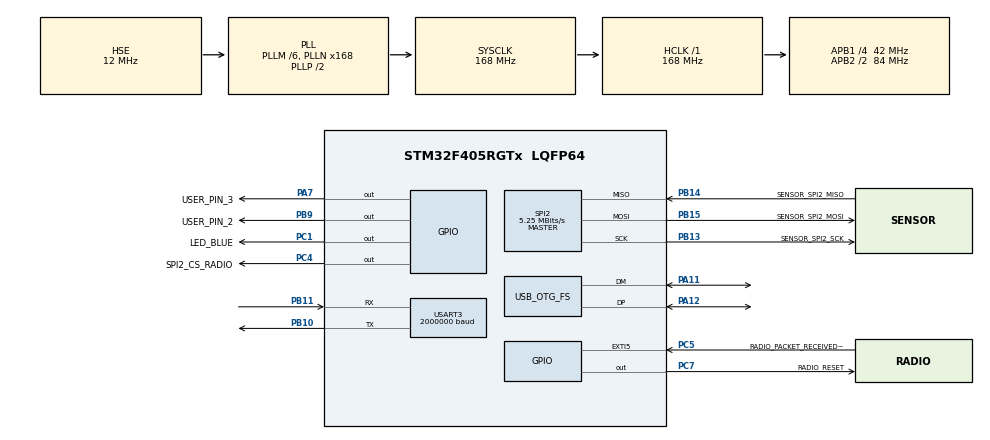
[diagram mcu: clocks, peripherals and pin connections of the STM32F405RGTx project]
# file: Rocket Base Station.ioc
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FREERTOS.INCLUDE_uxTaskGetStackHighWaterMark2=1
FREERTOS.Queues01=RadioCommsQueue,16,uint64_t,0,Static,RadioCommsQueueBuffer,RadioCommsQueueControlBlock
FREERTOS.Tasks01=defaultTask,24,4096,StartDefaultTask,Default,NULL,Static,defaultTaskBuffer,defaultTaskControlBlock;RadioComms,24,4096,RadioCommsTask,Default,NULL,Static,RadioCommsBuffer,RadioCommsControlBlock
FREERTOS.configCHECK_FOR_STACK_OVERFLOW=0
FREERTOS.configENABLE_FPU=0
FREERTOS.configGENERATE_RUN_TIME_STATS=1
FREERTOS.configTICK_RATE_HZ=1000
FREERTOS.configTOTAL_HEAP_SIZE=10000
FREERTOS.configUSE_NEWLIB_REENTRANT=1
FREERTOS.configUSE_OS2_MUTEX=1
FREERTOS.configUSE_STATS_FORMATTING_FUNCTIONS=1
FREERTOS.configUSE_TICKLESS_IDLE=0
Mcu.Family=STM32F4
Mcu.Name=STM32F405RGTx
Mcu.Package=LQFP64
NVIC.EXTI9_5_IRQn=true\:6\:0\:true\:false\:true\:true\:true\:true\:true
NVIC.OTG_FS_IRQn=true\:5\:0\:false\:false\:true\:true\:false\:true\:true
NVIC.PriorityGroup=NVIC_PRIORITYGROUP_4
NVIC.TIM1_UP_TIM10_IRQn=true\:15\:0\:false\:false\:true\:false\:false\:true\:true
NVIC.TIM8_TRG_COM_TIM14_IRQn=true\:5\:0\:false\:false\:true\:true\:true\:true\:true
NVIC.TimeBase=TIM1_UP_TIM10_IRQn
NVIC.TimeBaseIP=TIM1
NVIC.USART3_IRQn=true\:5\:0\:false\:false\:true\:true\:true\:true\:true
PA11.Mode=Device_Only
PA11.Signal=USB_OTG_FS_DM
PA12.Mode=Device_Only
PA12.Signal=USB_OTG_FS_DP
PA13.Mode=Serial_Wire
PA13.Signal=SYS_JTMS-SWDIO
PA14.Mode=Serial_Wire
PA14.Signal=SYS_JTCK-SWCLK
PA7.GPIO_Label=USER_PIN_3
PA7.GPIO_Speed=GPIO_SPEED_FREQ_HIGH
PA7.PinState=GPIO_PIN_SET
PA7.Signal=GPIO_Output
PB10.GPIO_PuPd=GPIO_NOPULL
PB10.GPIO_Speed=GPIO_SPEED_FREQ_MEDIUM
PB10.Mode=Asynchronous
PB10.Signal=USART3_TX
PB11.GPIO_PuPd=GPIO_NOPULL
PB11.GPIO_Speed=GPIO_SPEED_FREQ_MEDIUM
PB11.Mode=Asynchronous
PB11.Signal=USART3_RX
PB13.GPIO_Label=SENSOR_SPI2_SCK
PB13.GPIO_PuPd=GPIO_NOPULL
PB13.Mode=Full_Duplex_Master
PB13.Signal=SPI2_SCK
PB14.GPIO_Label=SENSOR_SPI2_MISO
PB14.GPIO_PuPd=GPIO_NOPULL
PB14.Mode=Full_Duplex_Master
PB14.Signal=SPI2_MISO
PB15.GPIO_Label=SENSOR_SPI2_MOSI
PB15.GPIO_PuPd=GPIO_NOPULL
PB15.Mode=Full_Duplex_Master
PB15.Signal=SPI2_MOSI
PB9.GPIO_Label=USER_PIN_2
PB9.GPIO_PuPd=GPIO_PULLUP
PB9.GPIO_Speed=GPIO_SPEED_FREQ_LOW
PB9.PinState=GPIO_PIN_SET
PB9.Signal=GPIO_Output
PC1.GPIO_Label=LED_BLUE
PC1.GPIO_ModeDefaultOutputPP=GPIO_MODE_OUTPUT_PP
PC1.GPIO_PuPd=GPIO_NOPULL
PC1.GPIO_Speed=GPIO_SPEED_FREQ_VERY_HIGH
PC1.PinState=GPIO_PIN_SET
PC1.Signal=GPIO_Output
PC14-OSC32_IN.Mode=LSE-External-Oscillator
PC14-OSC32_IN.Signal=RCC_OSC32_IN
PC15-OSC32_OUT.Mode=LSE-External-Oscillator
PC15-OSC32_OUT.Signal=RCC_OSC32_OUT
PC4.GPIO_Label=SPI2_CS_RADIO
PC4.GPIO_Speed=GPIO_SPEED_FREQ_VERY_HIGH
PC4.PinState=GPIO_PIN_SET
PC4.Signal=GPIO_Output
PC5.GPIO_Label=RADIO_PACKET_RECEIVED_INTERRUPT
PC5.GPIO_ModeDefaultEXTI=GPIO_MODE_IT_RISING_FALLING
PC5.GPIO_PuPd=GPIO_NOPULL
PC5.Signal=GPXTI5
PC7.GPIO_Label=RADIO_RESET
PC7.GPIO_Speed=GPIO_SPEED_FREQ_HIGH
PC7.PinState=GPIO_PIN_RESET
PC7.Signal=GPIO_Output
PH0-OSC_IN.Mode=HSE-External-Oscillator
PH0-OSC_IN.Signal=RCC_OSC_IN
PH1-OSC_OUT.Mode=HSE-External-Oscillator
PH1-OSC_OUT.Signal=RCC_OSC_OUT
ProjectManager.HeapSize=0x400
ProjectManager.StackSize=0x800
ProjectManager.TargetToolchain=STM32CubeIDE
RCC.48MHZClocksFreq_Value=48000000
RCC.AHBFreq_Value=168000000
RCC.APB1CLKDivider=RCC_HCLK_DIV4
RCC.APB1Freq_Value=42000000
RCC.APB1TimFreq_Value=84000000
RCC.APB2CLKDivider=RCC_HCLK_DIV2
RCC.APB2Freq_Value=84000000
RCC.APB2TimFreq_Value=168000000
RCC.CortexFreq_Value=168000000
RCC.HCLKFreq_Value=168000000
RCC.HSE_VALUE=12000000
RCC.HSI_VALUE=16000000
RCC.PLLM=6
RCC.PLLN=168
RCC.PLLQ=7
RCC.RCC_RTC_Clock_Source=RCC_RTCCLKSOURCE_LSE
RCC.RCC_RTC_Clock_SourceVirtual=RCC_RTCCLKSOURCE_LSE
RCC.SYSCLKFreq_VALUE=168000000
RCC.SYSCLKSource=RCC_SYSCLKSOURCE_PLLCLK
RCC.VCOOutputFreq_Value=336000000
SPI2.BaudRatePrescaler=SPI_BAUDRATEPRESCALER_8
SPI2.CalculateBaudRate=5.25 MBits/s
SPI2.Direction=SPI_DIRECTION_2LINES
SPI2.Mode=SPI_MODE_MASTER
SPI2.VirtualType=VM_MASTER
TIM14.ClockDivision=TIM_CLOCKDIVISION_DIV4
TIM14.Period=25000
TIM14.Prescaler=16800
TIM2.ClockDivision=TIM_CLOCKDIVISION_DIV4
TIM2.Prescaler=16000
TIM2.TIM_MasterOutputTrigger=TIM_TRGO_RESET
TIM5.Prescaler=1680
USART3.BaudRate=2000000
USART3.Mode=MODE_TX_RX
USART3.VirtualMode=VM_ASYNC
USB_DEVICE.CLASS_NAME_FS=CDC
USB_DEVICE.PRODUCT_STRING_CDC_FS=Rocket Base Station ComPort
USB_DEVICE.USBD_DEBUG_LEVEL-CDC_FS=3
USB_DEVICE.USBD_SELF_POWERED-CDC_FS=1
USB_DEVICE.VirtualMode-CDC_FS=Cdc
USB_DEVICE.VirtualModeFS=Cdc_FS
USB_OTG_FS.VirtualMode=Device_Only
VP_FREERTOS_VS_CMSIS_V2.Mode=CMSIS_V2
VP_RTC_VS_RTC_Activate.Mode=RTC_Enabled
VP_SYS_VS_tim1.Mode=TIM1
VP_TIM14_VS_ClockSourceINT.Mode=Enable_Timer
VP_TIM2_VS_ClockSourceINT.Mode=Internal
VP_TIM5_VS_ClockSourceINT.Mode=Internal
VP_USB_DEVICE_VS_USB_DEVICE_CDC_FS.Mode=CDC_FS
board=custom

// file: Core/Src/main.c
/* USER CODE BEGIN Header */
/**
  ******************************************************************************
  * @file           : main.c
  * @brief          : Main program body
  ******************************************************************************
  * @attention
  *
  * <h2><center>&copy; Copyright (c) 2021 STMicroelectronics.
  * All rights reserved.</center></h2>
  *
  * This software component is licensed by ST under Ultimate Liberty license
  * SLA0044, the "License"; You may not use this file except in compliance with
  * the License. You may obtain a copy of the License at:
  *                             www.st.com/SLA0044
  *
  ******************************************************************************
  */
/* USER CODE END Header */
#include "main.h"
#include "cmsis_os.h"
#include "usb_device.h"

/* USER CODE BEGIN Includes */
#include <stdio.h>
#include <stdio.h>
#include "usb_device.h"
#include "Global.h"
/* USER CODE END Includes */

typedef StaticTask_t osStaticThreadDef_t;
typedef StaticQueue_t osStaticMessageQDef_t;

RTC_HandleTypeDef hrtc;

SPI_HandleTypeDef hspi2;

TIM_HandleTypeDef htim2;
TIM_HandleTypeDef htim5;
TIM_HandleTypeDef htim14;

UART_HandleTypeDef huart3;

/* Definitions for defaultTask */
osThreadId_t defaultTaskHandle;
uint32_t defaultTaskBuffer[ 4096 ];
osStaticThreadDef_t defaultTaskControlBlock;
const osThreadAttr_t defaultTask_attributes = {
  .name = "defaultTask",
  .cb_mem = &defaultTaskControlBlock,
  .cb_size = sizeof(defaultTaskControlBlock),
  .stack_mem = &defaultTaskBuffer[0],
  .stack_size = sizeof(defaultTaskBuffer),
  .priority = (osPriority_t) osPriorityNormal,
};
/* Definitions for RadioComms */
osThreadId_t RadioCommsHandle;
uint32_t RadioCommsBuffer[ 4096 ];
osStaticThreadDef_t RadioCommsControlBlock;
const osThreadAttr_t RadioComms_attributes = {
  .name = "RadioComms",
  .cb_mem = &RadioCommsControlBlock,
  .cb_size = sizeof(RadioCommsControlBlock),
  .stack_mem = &RadioCommsBuffer[0],
  .stack_size = sizeof(RadioCommsBuffer),
  .priority = (osPriority_t) osPriorityNormal,
};
/* Definitions for RadioCommsQueue */
osMessageQueueId_t RadioCommsQueueHandle;
uint8_t RadioCommsQueueBuffer[ 16 * sizeof( uint64_t ) ];
osStaticMessageQDef_t RadioCommsQueueControlBlock;
const osMessageQueueAttr_t RadioCommsQueue_attributes = {
  .name = "RadioCommsQueue",
  .cb_mem = &RadioCommsQueueControlBlock,
  .cb_size = sizeof(RadioCommsQueueControlBlock),
  .mq_mem = &RadioCommsQueueBuffer,
  .mq_size = sizeof(RadioCommsQueueBuffer)
};

void SystemClock_Config(void);
static void MX_GPIO_Init(void);
static void MX_SPI2_Init(void);
static void MX_USART3_UART_Init(void);
static void MX_RTC_Init(void);
static void MX_TIM2_Init(void);
static void MX_TIM5_Init(void);
static void MX_TIM14_Init(void);
void StartDefaultTask(void *argument);
void RadioCommsTask(void *argument);

/* USER CODE BEGIN PFP */
void StartRadioCommsTask(osMessageQueueId_t);
void RunDefaultTask();
void RadioCommsPrintStats();
/* USER CODE END PFP */

/* USER CODE BEGIN 0 */

void StartSampleTimer()
{
	htim5.Instance->CNT = 0;
	HAL_TIM_Base_Start(&htim5);
}

void StopSampleTimer()
{
	HAL_TIM_Base_Stop(&htim5);
}

uint32_t SampleTick()
{
	return htim5.Instance->CNT;
}

void StartPrintStatsTimer()
{
	HAL_TIM_Base_Start_IT(&htim14);
}

void StopPrintStatsTimer()
{
	HAL_TIM_Base_Stop_IT(&htim14);
}
/* USER CODE END 0 */

int main(void)
{

  /* MCU Configuration--------------------------------------------------------*/

  /* Reset of all peripherals, Initializes the Flash interface and the Systick. */
  HAL_Init();

  /* Configure the system clock */
  SystemClock_Config();

  /* Initialize all configured peripherals */
  MX_GPIO_Init();
  MX_SPI2_Init();
  MX_USART3_UART_Init();
  MX_RTC_Init();
  MX_TIM2_Init();
  MX_TIM5_Init();
  MX_TIM14_Init();
  /* USER CODE BEGIN 2 */
  HAL_NVIC_DisableIRQ(EXTI9_5_IRQn);
  /* USER CODE END 2 */

  /* Init scheduler */
  osKernelInitialize();

  /* USER CODE BEGIN RTOS_TIMERS */
  /* start timers, add new ones, ... */
#ifdef DEBUG
  initialize_debug_printf();
#endif
  PRINTLN("Rocket System Start!!!");
  /* USER CODE END RTOS_TIMERS */

  /* Create the queue(s) */
  /* creation of RadioCommsQueue */
  RadioCommsQueueHandle = osMessageQueueNew (16, sizeof(uint64_t), &RadioCommsQueue_attributes);

  /* Create the thread(s) */
  /* creation of defaultTask */
  defaultTaskHandle = osThreadNew(StartDefaultTask, NULL, &defaultTask_attributes);

  /* creation of RadioComms */
  RadioCommsHandle = osThreadNew(RadioCommsTask, NULL, &RadioComms_attributes);

  /* Start scheduler */
  osKernelStart();

  /* We should never get here as control is now taken by the scheduler */
  /* Infinite loop */
  while (1)
  {

  }
}

void SystemClock_Config(void)
{
  RCC_OscInitTypeDef RCC_OscInitStruct = {0};
  RCC_ClkInitTypeDef RCC_ClkInitStruct = {0};

  /** Configure the main internal regulator output voltage
  */
  __HAL_RCC_PWR_CLK_ENABLE();
  __HAL_PWR_VOLTAGESCALING_CONFIG(PWR_REGULATOR_VOLTAGE_SCALE1);
  /** Initializes the RCC Oscillators according to the specified parameters
  * in the RCC_OscInitTypeDef structure.
  */
  RCC_OscInitStruct.OscillatorType = RCC_OSCILLATORTYPE_HSE|RCC_OSCILLATORTYPE_LSE;
  RCC_OscInitStruct.HSEState = RCC_HSE_ON;
  RCC_OscInitStruct.LSEState = RCC_LSE_ON;
  RCC_OscInitStruct.PLL.PLLState = RCC_PLL_ON;
  RCC_OscInitStruct.PLL.PLLSource = RCC_PLLSOURCE_HSE;
  RCC_OscInitStruct.PLL.PLLM = 6;
  RCC_OscInitStruct.PLL.PLLN = 168;
  RCC_OscInitStruct.PLL.PLLP = RCC_PLLP_DIV2;
  RCC_OscInitStruct.PLL.PLLQ = 7;
  if (HAL_RCC_OscConfig(&RCC_OscInitStruct) != HAL_OK)
  {
    Error_Handler();
  }
  /** Initializes the CPU, AHB and APB buses clocks
  */
  RCC_ClkInitStruct.ClockType = RCC_CLOCKTYPE_HCLK|RCC_CLOCKTYPE_SYSCLK
                              |RCC_CLOCKTYPE_PCLK1|RCC_CLOCKTYPE_PCLK2;
  RCC_ClkInitStruct.SYSCLKSource = RCC_SYSCLKSOURCE_PLLCLK;
  RCC_ClkInitStruct.AHBCLKDivider = RCC_SYSCLK_DIV1;
  RCC_ClkInitStruct.APB1CLKDivider = RCC_HCLK_DIV4;
  RCC_ClkInitStruct.APB2CLKDivider = RCC_HCLK_DIV2;

  if (HAL_RCC_ClockConfig(&RCC_ClkInitStruct, FLASH_LATENCY_5) != HAL_OK)
  {
    Error_Handler();
  }
}

static void MX_RTC_Init(void)
{

  /** Initialize RTC Only
  */
  hrtc.Instance = RTC;
  hrtc.Init.HourFormat = RTC_HOURFORMAT_24;
  hrtc.Init.AsynchPrediv = 127;
  hrtc.Init.SynchPrediv = 255;
  hrtc.Init.OutPut = RTC_OUTPUT_DISABLE;
  hrtc.Init.OutPutPolarity = RTC_OUTPUT_POLARITY_HIGH;
  hrtc.Init.OutPutType = RTC_OUTPUT_TYPE_OPENDRAIN;
  if (HAL_RTC_Init(&hrtc) != HAL_OK)
  {
    Error_Handler();
  }

}

static void MX_SPI2_Init(void)
{

  /* SPI2 parameter configuration*/
  hspi2.Instance = SPI2;
  hspi2.Init.Mode = SPI_MODE_MASTER;
  hspi2.Init.Direction = SPI_DIRECTION_2LINES;
  hspi2.Init.DataSize = SPI_DATASIZE_8BIT;
  hspi2.Init.CLKPolarity = SPI_POLARITY_LOW;
  hspi2.Init.CLKPhase = SPI_PHASE_1EDGE;
  hspi2.Init.NSS = SPI_NSS_SOFT;
  hspi2.Init.BaudRatePrescaler = SPI_BAUDRATEPRESCALER_8;
  hspi2.Init.FirstBit = SPI_FIRSTBIT_MSB;
  hspi2.Init.TIMode = SPI_TIMODE_DISABLE;
  hspi2.Init.CRCCalculation = SPI_CRCCALCULATION_DISABLE;
  hspi2.Init.CRCPolynomial = 10;
  if (HAL_SPI_Init(&hspi2) != HAL_OK)
  {
    Error_Handler();
  }

}

static void MX_TIM2_Init(void)
{

  TIM_ClockConfigTypeDef sClockSourceConfig = {0};
  TIM_MasterConfigTypeDef sMasterConfig = {0};

  htim2.Instance = TIM2;
  htim2.Init.Prescaler = 16000;
  htim2.Init.CounterMode = TIM_COUNTERMODE_UP;
  htim2.Init.Period = 4294967295;
  htim2.Init.ClockDivision = TIM_CLOCKDIVISION_DIV4;
  htim2.Init.AutoReloadPreload = TIM_AUTORELOAD_PRELOAD_DISABLE;
  if (HAL_TIM_Base_Init(&htim2) != HAL_OK)
  {
    Error_Handler();
  }
  sClockSourceConfig.ClockSource = TIM_CLOCKSOURCE_INTERNAL;
  if (HAL_TIM_ConfigClockSource(&htim2, &sClockSourceConfig) != HAL_OK)
  {
    Error_Handler();
  }
  sMasterConfig.MasterOutputTrigger = TIM_TRGO_RESET;
  sMasterConfig.MasterSlaveMode = TIM_MASTERSLAVEMODE_DISABLE;
  if (HAL_TIMEx_MasterConfigSynchronization(&htim2, &sMasterConfig) != HAL_OK)
  {
    Error_Handler();
  }

}

static void MX_TIM5_Init(void)
{

  TIM_ClockConfigTypeDef sClockSourceConfig = {0};
  TIM_MasterConfigTypeDef sMasterConfig = {0};

  htim5.Instance = TIM5;
  htim5.Init.Prescaler = 1680;
  htim5.Init.CounterMode = TIM_COUNTERMODE_UP;
  htim5.Init.Period = 4294967295;
  htim5.Init.ClockDivision = TIM_CLOCKDIVISION_DIV1;
  htim5.Init.AutoReloadPreload = TIM_AUTORELOAD_PRELOAD_DISABLE;
  if (HAL_TIM_Base_Init(&htim5) != HAL_OK)
  {
    Error_Handler();
  }
  sClockSourceConfig.ClockSource = TIM_CLOCKSOURCE_INTERNAL;
  if (HAL_TIM_ConfigClockSource(&htim5, &sClockSourceConfig) != HAL_OK)
  {
    Error_Handler();
  }
  sMasterConfig.MasterOutputTrigger = TIM_TRGO_RESET;
  sMasterConfig.MasterSlaveMode = TIM_MASTERSLAVEMODE_DISABLE;
  if (HAL_TIMEx_MasterConfigSynchronization(&htim5, &sMasterConfig) != HAL_OK)
  {
    Error_Handler();
  }

}

static void MX_TIM14_Init(void)
{

  htim14.Instance = TIM14;
  htim14.Init.Prescaler = 16800;
  htim14.Init.CounterMode = TIM_COUNTERMODE_UP;
  htim14.Init.Period = 25000;
  htim14.Init.ClockDivision = TIM_CLOCKDIVISION_DIV4;
  htim14.Init.AutoReloadPreload = TIM_AUTORELOAD_PRELOAD_DISABLE;
  if (HAL_TIM_Base_Init(&htim14) != HAL_OK)
  {
    Error_Handler();
  }

}

static void MX_USART3_UART_Init(void)
{

  huart3.Instance = USART3;
  huart3.Init.BaudRate = 2000000;
  huart3.Init.WordLength = UART_WORDLENGTH_8B;
  huart3.Init.StopBits = UART_STOPBITS_1;
  huart3.Init.Parity = UART_PARITY_NONE;
  huart3.Init.Mode = UART_MODE_TX_RX;
  huart3.Init.HwFlowCtl = UART_HWCONTROL_NONE;
  huart3.Init.OverSampling = UART_OVERSAMPLING_16;
  if (HAL_UART_Init(&huart3) != HAL_OK)
  {
    Error_Handler();
  }

}

static void MX_GPIO_Init(void)
{
  GPIO_InitTypeDef GPIO_InitStruct = {0};

  /* GPIO Ports Clock Enable */
  __HAL_RCC_GPIOC_CLK_ENABLE();
  __HAL_RCC_GPIOH_CLK_ENABLE();
  __HAL_RCC_GPIOA_CLK_ENABLE();
  __HAL_RCC_GPIOB_CLK_ENABLE();

  /*Configure GPIO pin Output Level */
  HAL_GPIO_WritePin(GPIOC, LED_BLUE_Pin|SPI2_CS_RADIO_Pin, GPIO_PIN_SET);

  /*Configure GPIO pin Output Level */
  HAL_GPIO_WritePin(USER_PIN_3_GPIO_Port, USER_PIN_3_Pin, GPIO_PIN_SET);

  /*Configure GPIO pin Output Level */
  HAL_GPIO_WritePin(RADIO_RESET_GPIO_Port, RADIO_RESET_Pin, GPIO_PIN_RESET);

  /*Configure GPIO pin Output Level */
  HAL_GPIO_WritePin(USER_PIN_2_GPIO_Port, USER_PIN_2_Pin, GPIO_PIN_SET);

  /*Configure GPIO pins : LED_BLUE_Pin SPI2_CS_RADIO_Pin */
  GPIO_InitStruct.Pin = LED_BLUE_Pin|SPI2_CS_RADIO_Pin;
  GPIO_InitStruct.Mode = GPIO_MODE_OUTPUT_PP;
  GPIO_InitStruct.Pull = GPIO_NOPULL;
  GPIO_InitStruct.Speed = GPIO_SPEED_FREQ_VERY_HIGH;
  HAL_GPIO_Init(GPIOC, &GPIO_InitStruct);

  /*Configure GPIO pin : USER_PIN_3_Pin */
  GPIO_InitStruct.Pin = USER_PIN_3_Pin;
  GPIO_InitStruct.Mode = GPIO_MODE_OUTPUT_PP;
  GPIO_InitStruct.Pull = GPIO_NOPULL;
  GPIO_InitStruct.Speed = GPIO_SPEED_FREQ_HIGH;
  HAL_GPIO_Init(USER_PIN_3_GPIO_Port, &GPIO_InitStruct);

  /*Configure GPIO pin : RADIO_PACKET_RECEIVED_INTERRUPT_Pin */
  GPIO_InitStruct.Pin = RADIO_PACKET_RECEIVED_INTERRUPT_Pin;
  GPIO_InitStruct.Mode = GPIO_MODE_IT_RISING_FALLING;
  GPIO_InitStruct.Pull = GPIO_NOPULL;
  HAL_GPIO_Init(RADIO_PACKET_RECEIVED_INTERRUPT_GPIO_Port, &GPIO_InitStruct);

  /*Configure GPIO pin : RADIO_RESET_Pin */
  GPIO_InitStruct.Pin = RADIO_RESET_Pin;
  GPIO_InitStruct.Mode = GPIO_MODE_OUTPUT_PP;
  GPIO_InitStruct.Pull = GPIO_NOPULL;
  GPIO_InitStruct.Speed = GPIO_SPEED_FREQ_HIGH;
  HAL_GPIO_Init(RADIO_RESET_GPIO_Port, &GPIO_InitStruct);

  /*Configure GPIO pin : USER_PIN_2_Pin */
  GPIO_InitStruct.Pin = USER_PIN_2_Pin;
  GPIO_InitStruct.Mode = GPIO_MODE_OUTPUT_PP;
  GPIO_InitStruct.Pull = GPIO_PULLUP;
  GPIO_InitStruct.Speed = GPIO_SPEED_FREQ_LOW;
  HAL_GPIO_Init(USER_PIN_2_GPIO_Port, &GPIO_InitStruct);

  /* EXTI interrupt init*/
  HAL_NVIC_SetPriority(EXTI9_5_IRQn, 6, 0);
  HAL_NVIC_EnableIRQ(EXTI9_5_IRQn);

}

void StartDefaultTask(void *argument)
{
  /* init code for USB_DEVICE */
  MX_USB_DEVICE_Init();
  /* USER CODE BEGIN 5 */
  /* Infinite loop */
	RunDefaultTask();
  /* USER CODE END 5 */
}

void RadioCommsTask(void *argument)
{
  /* USER CODE BEGIN RadioCommsTask */
  /* Infinite loop */
	StartRadioCommsTask(RadioCommsQueueHandle);
  /* USER CODE END RadioCommsTask */
}

void HAL_TIM_PeriodElapsedCallback(TIM_HandleTypeDef *htim)
{
  if (htim->Instance == TIM1) {
    HAL_IncTick();
  }
  /* USER CODE BEGIN Callback 1 */
  if (htim->Instance == TIM14)
  {
	  RadioCommsPrintStats();
  }
  /* USER CODE END Callback 1 */
}

void Error_Handler(void)
{
  __disable_irq();
  while (1)
  {
  }
}

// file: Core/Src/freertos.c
/* USER CODE BEGIN Header */
/**
  ******************************************************************************
  * File Name          : freertos.c
  * Description        : Code for freertos applications
  ******************************************************************************
  * @attention
  *
  * <h2><center>&copy; Copyright (c) 2021 STMicroelectronics.
  * All rights reserved.</center></h2>
  *
  * This software component is licensed by ST under Ultimate Liberty license
  * SLA0044, the "License"; You may not use this file except in compliance with
  * the License. You may obtain a copy of the License at:
  *                             www.st.com/SLA0044
  *
  ******************************************************************************
  */
/* USER CODE END Header */

#include "FreeRTOS.h"
#include "task.h"
#include "main.h"

/* Hook prototypes */
void configureTimerForRunTimeStats(void);
unsigned long getRunTimeCounterValue(void);

/* USER CODE BEGIN 1 */
extern TIM_HandleTypeDef htim2;
/* Functions needed when configGENERATE_RUN_TIME_STATS is on */
__weak void configureTimerForRunTimeStats(void)
{
	HAL_TIM_Base_Start(&htim2);
}

__weak unsigned long getRunTimeCounterValue(void)
{
return htim2.Instance->CNT;
}
/* USER CODE END 1 */
